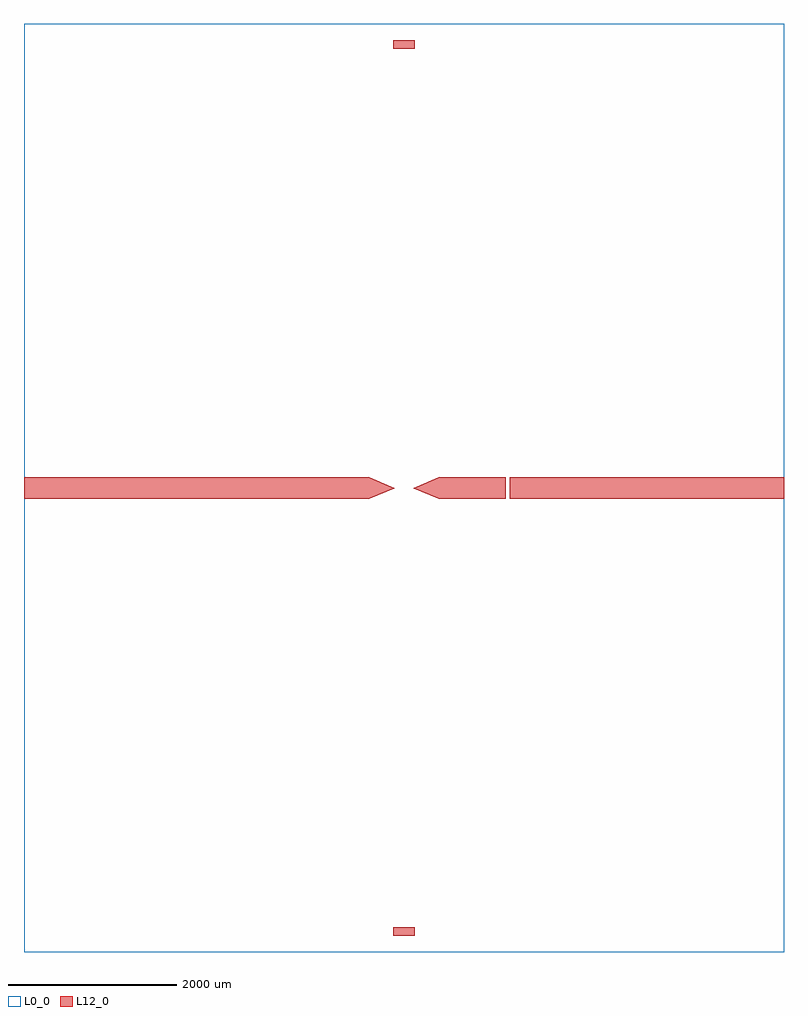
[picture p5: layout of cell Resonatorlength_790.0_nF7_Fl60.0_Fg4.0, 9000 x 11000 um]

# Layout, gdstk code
import gdstk
lib = gdstk.Library(unit=1e-6, precision=1e-09)
def R(c, l, rs):  # rectangles x0, y0, x1, y1
    for r in rs: c.add(gdstk.rectangle(r[:2], r[2:], *l))
def P(c, l, *ps):  # polygons
    for p in ps: c.add(gdstk.Polygon(p, *l))
L0_0 = (0, 0)
L12_0 = (12, 0)

resonatorlength_790_0_nf = lib.new_cell('Resonatorlength_790.0_nF7_Fl60.0_Fg4.0')
R(resonatorlength_790_0_nf, L0_0, [(-4500,-5500,4500,5500)])
R(resonatorlength_790_0_nf, L12_0, [(-125,-5300,125,-5200), (-4500,-125,-1266,125), (-1266,-125,-1206,-92.714), (-1202,-125,-412,125), (412,-125,1202,125), (1252,-125,4500,125), (-1262,-88.714,-1202,-56.429), (-1266,-52.429,-1206,-20.143), (-1262,-16.143,-1202,16.143), (-1266,20.143,-1206,52.429), (-1262,56.429,-1202,88.714), (-1266,92.714,-1206,125), (-125,5200,125,5300)])
P(resonatorlength_790_0_nf, L12_0, [(-412,125),(-412,-125),(-108.5,0)],
  [(412,125),(412,-125),(108.5,0)])

lib.write_gds('Resonatorlength_790.0_nF7_Fl60.0_Fg4.0.gds')
